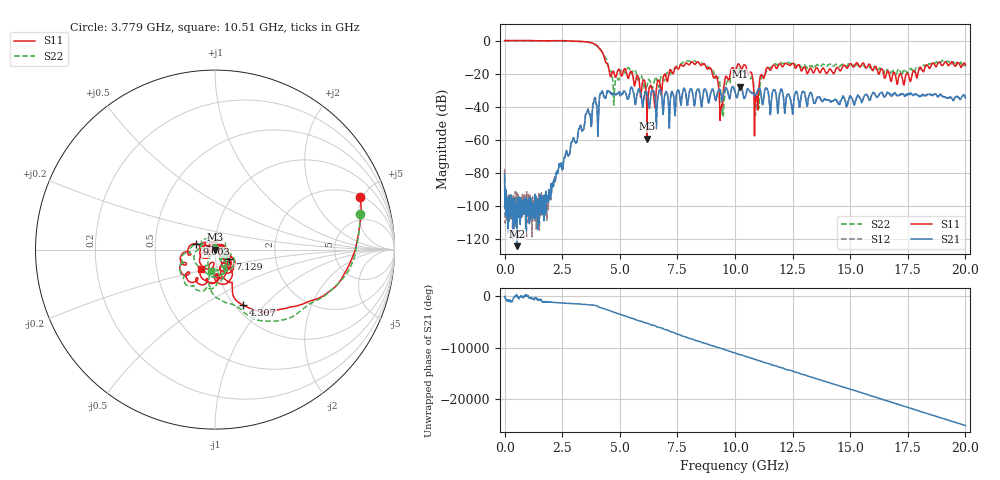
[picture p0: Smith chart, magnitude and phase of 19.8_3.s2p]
#  HZ  S  RI  R  50.00
! Rohde & Schwarz Vector Network Analyzer
! Rohde-Schwarz,ZNB20-2Port,1311601062102128,3.60
! Created: UTC 4/29/2024, 2:59:44 PM
! freq[Hz]  re:S11  im:S11  re:S21  im:S21  re:S12  im:S12  re:S22  im:S22
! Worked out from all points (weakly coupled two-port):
!   2007 points, 100 kHz to 20 GHz, reference 50 ohm
!   highest |S21| = -27.72 dB at 10.23 GHz (marker M1); lowest = -124.1 dB at 528.5 MHz (marker M2)
!   lowest |S11| = -59.2 dB at 6.182 GHz (marker M3), VSWR 1.00, Z = 50.1 - j0.019 ohm
!   |S11| at or under -10 dB: 4.326 GHz to end of sweep
!   |S22| runs from -45.5 to 0.1 dB; largest |S21 - S12| = 0.0022
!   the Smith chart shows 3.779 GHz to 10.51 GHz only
!   S11 on the Smith chart (normalised r, x): 3.779 GHz: 2.08, +4.77; 4.307 GHz: 1.09, -0.76; 7.129 GHz: 1.16, -0.13; 9.003 GHz: 0.81, +0.05; 10.51 GHz: 0.83, -0.18
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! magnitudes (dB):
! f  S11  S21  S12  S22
! 100 kHz  0.0  -80.8  -77.4  0.1
! 528.5 MHz  0.0  -124.1  -105.6  0.0
! 2.223 GHz  -0.1  -83.2  -83.1  -0.3
! 3.34 GHz  -0.6  -54.0  -53.6  -0.6
! 3.779 GHz  -1.3  -49.8  -50.1  -1.6
! 4.307 GHz  -9.2  -33.9  -34.0  -9.2
! 4.776 GHz  -20.7  -32.4  -32.4  -28.8
! 5.364 GHz  -22.8  -35.3  -35.3  -16.3
! 6.182 GHz  -59.2  -31.8  -31.8  -27.5
! 6.67 GHz  -23.8  -32.3  -32.3  -27.2
! 7.129 GHz  -20.3  -43.0  -43.0  -20.4
! 9.003 GHz  -19.3  -29.4  -29.5  -17.0
! 9.382 GHz  -40.7  -31.6  -31.6  -31.6
! 9.472 GHz  -36.8  -35.2  -35.2  -42.4
! 10 GHz  -18.7  -31.0  -31.0  -19.2
! 10.23 GHz  -15.7  -27.7  -27.7  -16.8
! 10.51 GHz  -17.5  -30.3  -30.3  -18.4
! 10.92 GHz  -33.6  -32.5  -32.5  -34.4
! 11.42 GHz  -16.2  -29.8  -29.8  -16.8
! 13.34 GHz  -18.0  -32.7  -32.7  -15.3
! 16.67 GHz  -19.0  -31.7  -31.8  -20.5
! 20 GHz  -14.6  -34.7  -34.8  -14.4
